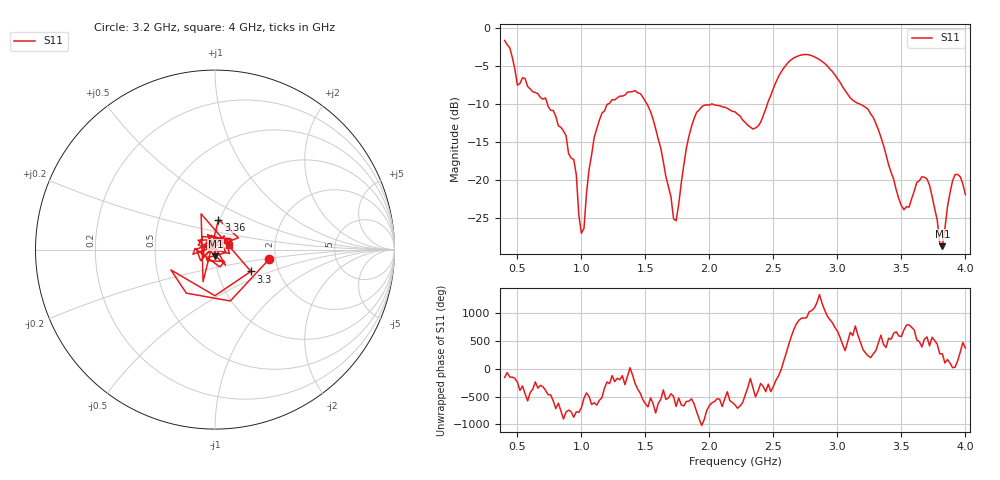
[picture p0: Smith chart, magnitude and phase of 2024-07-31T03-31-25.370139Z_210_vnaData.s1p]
!Created with skrf (http://scikit-rf.org).
# Hz S RI R 50.0
!freq ReS11 ImS11
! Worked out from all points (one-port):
!   181 points, 400 MHz to 4 GHz, reference 50 ohm
!   lowest |S11| = -28.7 dB at 3.82 GHz (marker M1), VSWR 1.08, Z = 50.1 - j3.66 ohm
!   |S11| at or under -10 dB: 733.4 MHz to 1.215 GHz (481.2 MHz wide, 49.4 % of centre); 1.51 GHz to 2.454 GHz (943.5 MHz wide, 47.6 % of centre); 3.166 GHz to end of sweep
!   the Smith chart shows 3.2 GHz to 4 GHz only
!   S11 on the Smith chart (normalised r, x): 3.2 GHz: 1.85, -0.22; 3.3 GHz: 1.44, -0.37; 3.36 GHz: 0.98, +0.34; 4 GHz: 1.16, +0.06
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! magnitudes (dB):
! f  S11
! 400 MHz  -1.7
! 500 MHz  -7.6
! 720 MHz  -9.3
! 860 MHz  -13.6
! 940 MHz  -17.3
! 1 GHz  -27.0
! 1.02 GHz  -26.4
! 1.1 GHz  -14.4
! 1.3 GHz  -9.0
! 1.52 GHz  -10.3
! 1.72 GHz  -25.1
! 1.76 GHz  -23.3
! 1.82 GHz  -15.9
! 1.9 GHz  -11.1
! 2.2 GHz  -11.1
! 2.38 GHz  -13.0
! 2.66 GHz  -4.0
! 2.86 GHz  -4.2
! 3.1 GHz  -9.2
! 3.2 GHz  -10.3
! 3.3 GHz  -12.6
! 3.36 GHz  -15.5
! 3.5 GHz  -23.4
! 3.56 GHz  -23.6
! 3.7 GHz  -19.9
! 3.82 GHz  -28.7
! 3.92 GHz  -19.3
! 4 GHz  -22.0
